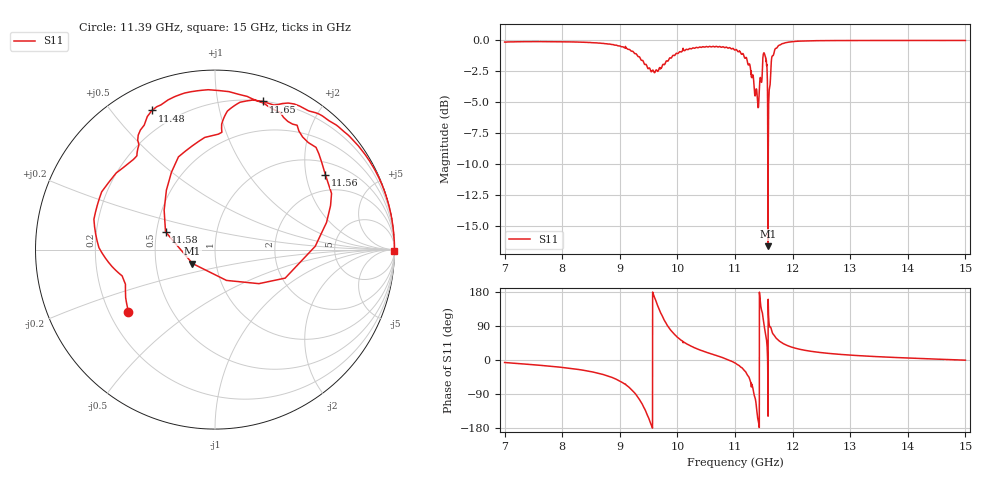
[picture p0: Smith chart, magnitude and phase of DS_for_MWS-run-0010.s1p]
! TOUCHSTONE file generated by CST DESIGN STUDIO
! Date and time: Mon Feb 10 16:50:58 2025
! Project name: C:\Work\MatlabApps\UnitCellType2OptimizationMatlab\CST\unitcell.cst
! Tree item: Tasks\Sweep1\SPara1\S-Parameters
! Header version: 2024
! Port assignment regex: !\s*Touchstone port\s*([0-9]+)\s*=\s*(CST MWS port|CST DES external port|CST DES block port)\s*(.+)\s* \(\"(.*)\"\)(\s*mode\s*([0-9]+))?.*
! Touchstone port assignment:
! Touchstone port 1 = CST DES external port 1 ("")
# GHz S MA R 50
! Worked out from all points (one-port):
!   4001 points, 7 GHz to 15 GHz, reference 50 ohm
!   lowest |S11| = -16.6 dB at 11.57 GHz (marker M1), VSWR 1.35, Z = 38.4 - j6.1 ohm
!   |S11| at or under -10 dB: 11.56986 GHz to 11.57676 GHz (6.895 MHz wide, 0.0596 % of centre)
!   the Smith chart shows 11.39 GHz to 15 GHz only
!   S11 on the Smith chart (normalised r, x): 11.39 GHz: 0.28, -0.30; 11.48 GHz: 0.11, +0.64; 11.56 GHz: 1.40, +2.59; 11.58 GHz: 0.56, +0.12; 11.65 GHz: 0.20, +1.35; 15 GHz: open
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7  0.9853 -6.6
8  0.9879 -19.5
8.62  0.9761 -34.7
9  0.9504 -55.5
9.33  0.8601 -101.3
9.432  0.7995 -129.2
9.554  0.7493 -173.9
9.648  0.7545 146.7
9.762  0.8002 107.7
10  0.8854 59.9
10.414  0.9373 25.2
11  0.9141 -7.8
11.222  0.8059 -40.9
11.322  0.6974 -84.0
11.386  0.5953 -144.2
11.442  0.704 150.3
11.484  0.8512 114.4
11.53  0.8515 69.7
11.558  0.7427 34.1
11.574  0.1475 -148.3
11.576  0.293 160.2
11.612  0.6764 86.9
11.648  0.8674 72.1
11.78  0.9581 48.8
12  0.9893 33.2
13  0.9995 12.9
14  0.9999 5.2
15  0.9999 -0.4
